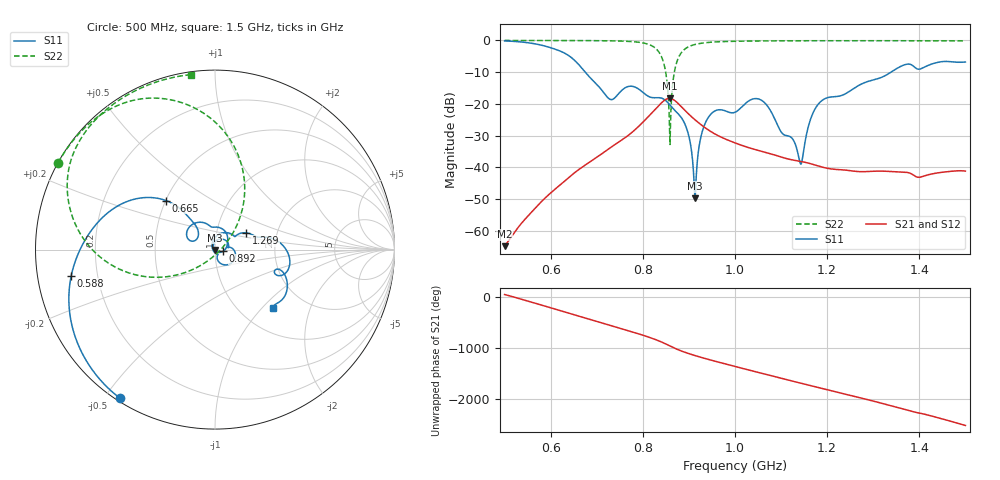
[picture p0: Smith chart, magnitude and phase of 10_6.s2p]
! TOUCHSTONE file generated by CST MICROWAVE STUDIO
! Date and time: Fri Oct  2 18:55:54 2020
! Project name: Scenario_1_Free_Space_out_of_line.cst
! Parameters = {Lambda=346.42; Step_1=17.321; dy1=191.571; dx1=1039; L_HA=400; MT=2.54; Rad_Dielectric=30; Rad_Lower=7.3; Rad_Upper=30; a_HA=580; a_WG=246; b_HA=500; b_WG=121; c_HA=0; c_WG=187; d_feed=85; h_feed=15; h_lower=18; h_upper=40}
! Header version: 2018
! Port assignment regex: !\s*Touchstone port\s*([0-9]+)\s*=\s*(CST MWS port|CST DS port)\s*([0-9]+|Zmin|Zmax)\s*\(\"(.*)\"\)(\s*mode\s*([0-9]+))?.*
! Touchstone port assignment:
! Touchstone port 1 = CST MWS port 1 ("")
! Touchstone port 2 = CST MWS port 2 ("")
# GHz S DB R 50
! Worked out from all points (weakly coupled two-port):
!   1003 points, 500 MHz to 1.5 GHz, reference 50 ohm
!   highest |S21| = -18.25 dB at 858 MHz (marker M1); lowest = -64.8 dB at 500 MHz (marker M2)
!   lowest |S11| = -49.7 dB at 913 MHz (marker M3), VSWR 1.01, Z = 49.8 - j0.229 ohm
!   |S11| at or under -10 dB: 675 MHz to 1.338 GHz (663.3 MHz wide, 65.9 % of centre)
!   |S22| runs from -32.8 to 0.0 dB; largest |S21 - S12| = 6.8e-06
!   S11 on the Smith chart (normalised r, x): 500 MHz: 0.01, -0.55; 588 MHz: 0.10, -0.09; 665 MHz: 0.50, +0.32; 892 MHz: 1.10, -0.02; 1.269 GHz: 1.39, +0.27; 1.5 GHz: 1.41, -1.15
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0.5  -0.15 -122.5  -64.79 41.9  -64.79 41.9  -0.01 151.1
0.588  -1.79 -169.7  -49.61 174.8  -49.61 174.8  -0.02 145.0
0.665  -8.28 134.9  -40.24 -30.9  -40.24 -30.9  -0.04 138.5
0.667  -8.62 134.0  -40.04 -36.4  -40.04 -36.4  -0.04 138.3
0.729  -18.56 143.7  -33.83 159.0  -33.83 159.0  -0.12 130.9
0.773  -14.41 139.0  -29.37 42.1  -29.37 42.1  -0.33 122.2
0.834  -18.02 83.5  -20.58 -141.4  -20.58 -141.5  -3.48 86.4
0.848  -18.74 60.5  -18.75 163.7  -18.75 163.7  -8.79 62.9
0.858  -20.21 43.8  -18.25 120.3  -18.25 120.3  -28.55 9.2
0.872  -22.43 25.0  -19.25 61.0  -19.25 61.0  -7.62 -158.8
0.892  -26.56 -11.7  -22.14 -9.2  -22.14 -9.2  -2.62 174.9
0.913  -49.71 -135.4  -24.97 -70.7  -24.97 -70.7  -1.28 161.3
0.926  -30.36 105.3  -26.50 -105.6  -26.50 -105.6  -0.90 156.0
0.941  -24.48 71.9  -28.08 -143.7  -28.08 -143.7  -0.64 151.4
1  -22.63 9.2  -32.27 75.9  -32.27 75.9  -0.26 140.3
1.06  -19.09 -48.7  -34.98 -63.2  -34.98 -63.2  -0.16 133.4
1.142  -38.84 -141.2  -38.08 109.9  -38.08 109.9  -0.10 126.2
1.167  -23.63 90.7  -38.94 52.1  -38.94 52.1  -0.10 124.2
1.191  -18.68 54.0  -39.95 -1.0  -39.95 -1.0  -0.09 122.3
1.269  -14.13 28.4  -41.31 -171.7  -41.31 -171.7  -0.08 116.4
1.334  -10.40 13.0  -41.25 38.6  -41.25 38.6  -0.09 111.5
1.5  -6.80 -45.0  -41.14 2.3  -41.14 2.3  -0.14 97.9
